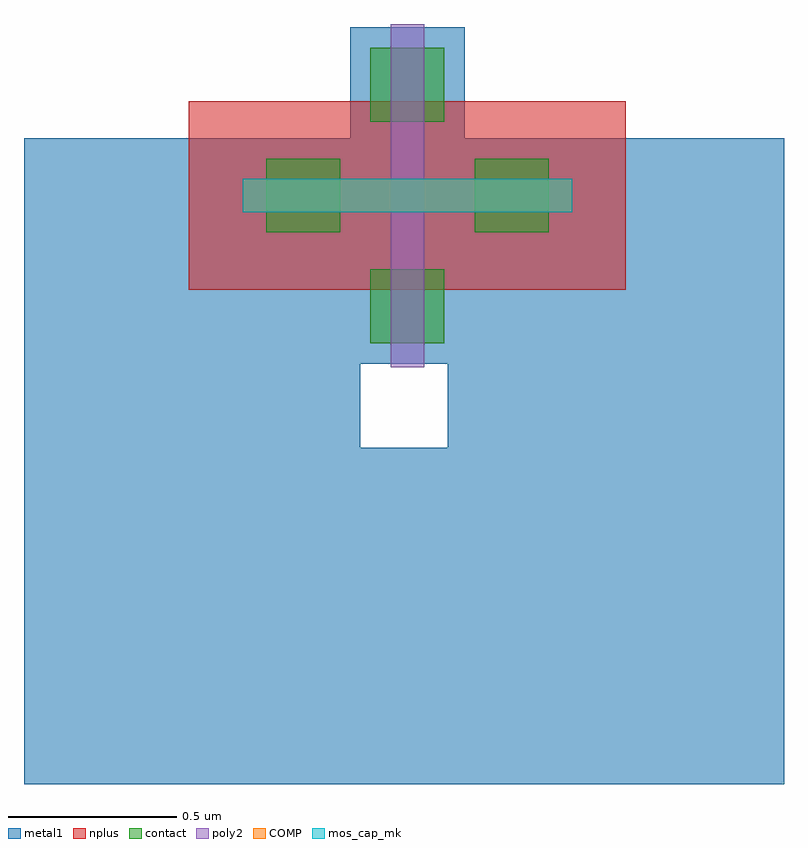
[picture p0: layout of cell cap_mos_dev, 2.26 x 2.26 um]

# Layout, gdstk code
import gdstk
lib = gdstk.Library(unit=1e-6, precision=1e-09)
def R(c, l, rs):  # rectangles x0, y0, x1, y1
    for r in rs: c.add(gdstk.rectangle(r[:2], r[2:], *l))
COMP = (22, 0)
poly2 = (30, 0)
nplus = (32, 0)
contact = (33, 0)
metal1 = (34, 0)
mos_cap_mk = (166, 5)

compass_4fecc7c7 = lib.new_cell('compass_4fecc7c7')
R(compass_4fecc7c7, COMP, [(-0.49,-0.05,0.49,0.05)])

rectangle_4fecc7c7 = lib.new_cell('rectangle_4fecc7c7')
rectangle_4fecc7c7.add(gdstk.Reference(compass_4fecc7c7, (0.49,0.05)))

compass_60661fcd = lib.new_cell('compass_60661fcd')
R(compass_60661fcd, mos_cap_mk, [(-0.49,-0.05,0.49,0.05)])

rectangle_60661fcd = lib.new_cell('rectangle_60661fcd')
rectangle_60661fcd.add(gdstk.Reference(compass_60661fcd, (0.49,0.05)))

compass_f38dc993 = lib.new_cell('compass_f38dc993')
R(compass_f38dc993, contact, [(-0.11,-0.11,0.11,0.11)])

rectangle_f38dc993 = lib.new_cell('rectangle_f38dc993')
rectangle_f38dc993.add(gdstk.Reference(compass_f38dc993, (0.11,0.11)))

via_generator_e3a46893 = lib.new_cell('via_generator_e3a46893')
r = gdstk.Reference(rectangle_f38dc993, (0.07,-0.06)); r.repetition = gdstk.Repetition(1, 1, v1=(0.5,0), v2=(0,0.5)); via_generator_e3a46893.add(r)

compass_02b66c81 = lib.new_cell('compass_02b66c81')
R(compass_02b66c81, metal1, [(-0.17,-0.17,0.17,0.17)])

rectangle_02b66c81 = lib.new_cell('rectangle_02b66c81')
rectangle_02b66c81.add(gdstk.Reference(compass_02b66c81, (0.17,0.17)))

via_stack_1426bd6e = lib.new_cell('via_stack_1426bd6e')
via_stack_1426bd6e.add(gdstk.Reference(via_generator_e3a46893, (0,0)))
via_stack_1426bd6e.add(gdstk.Reference(rectangle_02b66c81, (0.01,-0.12)))

compass_d806ed4b = lib.new_cell('compass_d806ed4b')
R(compass_d806ed4b, nplus, [(-0.65,-0.28,0.65,0.28)])

rectangle_d806ed4b = lib.new_cell('rectangle_d806ed4b')
rectangle_d806ed4b.add(gdstk.Reference(compass_d806ed4b, (0.65,0.28)))

compass_18f8f206 = lib.new_cell('compass_18f8f206')
R(compass_18f8f206, poly2, [(-0.05,-0.51,0.05,0.51)])

rectangle_18f8f206 = lib.new_cell('rectangle_18f8f206')
rectangle_18f8f206.add(gdstk.Reference(compass_18f8f206, (0.05,0.51)))

via_generator_7ee8e6ec = lib.new_cell('via_generator_7ee8e6ec')
r = gdstk.Reference(rectangle_f38dc993, (0.38,-0.39)); r.repetition = gdstk.Repetition(1, 1, v1=(0.5,0), v2=(0,0.5)); via_generator_7ee8e6ec.add(r)

via_stack_5ae8a034 = lib.new_cell('via_stack_5ae8a034')
via_stack_5ae8a034.add(gdstk.Reference(via_generator_7ee8e6ec, (0,0)))
via_stack_5ae8a034.add(gdstk.Reference(rectangle_02b66c81, (0.32,-0.45)))

compass_7b686575 = lib.new_cell('compass_7b686575')
R(compass_7b686575, metal1, [(-0.17,-0.5,0.17,0.5)])

rectangle_7b686575 = lib.new_cell('rectangle_7b686575')
rectangle_7b686575.add(gdstk.Reference(compass_7b686575, (0.17,0.5)))

cap_mos_inst_732e3199 = lib.new_cell('cap_mos_inst_732e3199')
cap_mos_inst_732e3199.add(gdstk.Reference(rectangle_4fecc7c7, (0,0)))
cap_mos_inst_732e3199.add(gdstk.Reference(rectangle_60661fcd, (0,0)))
r = gdstk.Reference(via_stack_1426bd6e, (0,0)); r.repetition = gdstk.Repetition(2, 1, v1=(0.62,0), v2=(0,1)); cap_mos_inst_732e3199.add(r)
cap_mos_inst_732e3199.add(gdstk.Reference(rectangle_d806ed4b, (-0.16,-0.23)))
cap_mos_inst_732e3199.add(gdstk.Reference(rectangle_18f8f206, (0.44,-0.46)))
r = gdstk.Reference(via_stack_5ae8a034, (0,0)); r.repetition = gdstk.Repetition(1, 2, v1=(1,0), v2=(0,0.66)); cap_mos_inst_732e3199.add(r)
cap_mos_inst_732e3199.add(gdstk.Reference(rectangle_7b686575, (0.32,-0.45)))

compass_b37a80ff = lib.new_cell('compass_b37a80ff')
R(compass_b37a80ff, metal1, [(-0.5,-0.46,0.5,0.46)])

rectangle_b37a80ff = lib.new_cell('rectangle_b37a80ff')
rectangle_b37a80ff.add(gdstk.Reference(compass_b37a80ff, (0.5,0.46)))

compass_ecf8332a = lib.new_cell('compass_ecf8332a')
R(compass_ecf8332a, metal1, [(-1.13,-0.5,1.13,0.5)])

rectangle_ecf8332a = lib.new_cell('rectangle_ecf8332a')
rectangle_ecf8332a.add(gdstk.Reference(compass_ecf8332a, (1.13,0.5)))

cap_mos_dev = lib.new_cell('cap_mos_dev')
cap_mos_dev.add(gdstk.Reference(cap_mos_inst_732e3199, (0,0)))
r = gdstk.Reference(rectangle_b37a80ff, (-0.65,-0.7)); r.repetition = gdstk.Repetition(2, 1, v1=(1.26,0), v2=(0,1)); cap_mos_dev.add(r)
cap_mos_dev.add(gdstk.Reference(rectangle_ecf8332a, (-0.65,-1.7)))

lib.write_gds('cap_mos_dev.gds')
